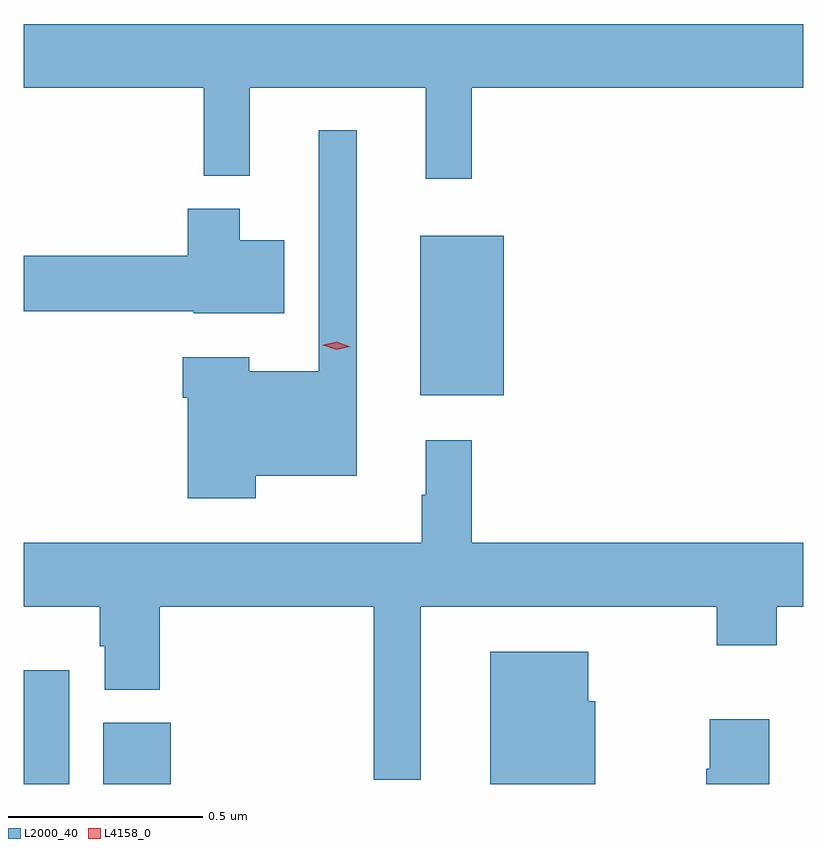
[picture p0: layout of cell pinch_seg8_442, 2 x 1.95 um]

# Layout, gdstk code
import gdstk
lib = gdstk.Library(unit=1e-6, precision=1e-09)
def R(c, l, rs):  # rectangles x0, y0, x1, y1
    for r in rs: c.add(gdstk.rectangle(r[:2], r[2:], *l))
def P(c, l, *ps):  # polygons
    for p in ps: c.add(gdstk.Polygon(p, *l))
L2000_40 = (2000, 40)
L4158_0 = (4158, 0)

pinch_seg8_442 = lib.new_cell('pinch_seg8_442')
R(pinch_seg8_442, L2000_40, [(289.91,1126.701,290.026,1126.993), (290.114,1126.701,290.287,1126.858), (290.927,1127.699,291.142,1128.109)])
P(pinch_seg8_442, L2000_40, [(291.059,1128.488),(291.91,1128.488),(291.91,1128.652),(289.91,1128.652),(289.91,1128.488),(290.371,1128.488),(290.371,1128.263),(290.489,1128.263),(290.489,1128.488),(290.942,1128.488),(290.942,1128.255),(291.059,1128.255)],
  [(290.505,1127.492),(290.764,1127.492),(290.764,1128.379),(290.667,1128.379),(290.667,1127.761),(290.488,1127.761),(290.488,1127.797),(290.318,1127.797),(290.318,1127.693),(290.33,1127.693),(290.33,1127.435),(290.505,1127.435)],
  [(290.578,1128.097),(290.464,1128.097),(290.464,1128.178),(290.33,1128.178),(290.33,1128.057),(289.91,1128.057),(289.91,1127.915),(290.346,1127.915),(290.346,1127.909),(290.578,1127.909)],
  [(290.929,1127.156),(291.688,1127.156),(291.688,1127.057),(291.843,1127.057),(291.843,1127.156),(291.91,1127.156),(291.91,1127.32),(291.059,1127.32),(291.059,1127.584),(290.942,1127.584),(290.942,1127.444),(290.931,1127.444),(290.931,1127.32),(289.91,1127.32),(289.91,1127.156),(290.105,1127.156),(290.105,1127.055),(290.117,1127.055),(290.117,1126.943),(290.258,1126.943),(290.258,1127.156),(290.808,1127.156),(290.808,1126.712),(290.929,1126.712)],
  [(291.376,1126.914),(291.358,1126.914),(291.358,1127.041),(291.107,1127.041),(291.107,1126.701),(291.376,1126.701)],
  [(291.823,1126.867),(291.67,1126.867),(291.67,1126.74),(291.662,1126.74),(291.662,1126.701),(291.823,1126.701)])
P(pinch_seg8_442, L4158_0, [(290.712,1127.816),(290.678,1127.827),(290.677,1127.827),(290.678,1127.828),(290.713,1127.836),(290.748,1127.824),(290.749,1127.824),(290.748,1127.824)])

lib.write_gds('pinch_seg8_442.gds')
